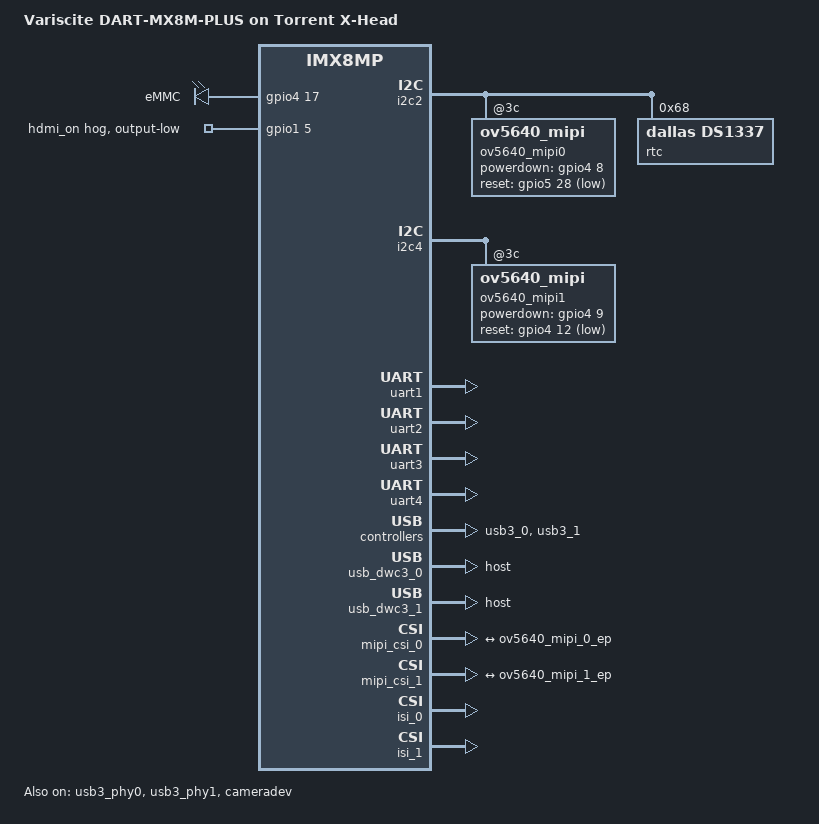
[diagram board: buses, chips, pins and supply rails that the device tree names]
// SPDX-License-Identifier: (GPL-2.0+ OR MIT)
/*
 * Copyright 2019 NXP
 * Copyright 2020-2021 Variscite Ltd.
 * Copyright 2023 Gold Standard Diagnostics
 */

#include "imx8mp-var-dart.dtsi"

/ {
	model = "Variscite DART-MX8M-PLUS on Torrent X-Head";

	chosen {
		stdout-path = &uart1;
	};

	gpio-leds {
		compatible = "gpio-leds";
		pinctrl-names = "default";
		pinctrl-0 = <&pinctrl_gpio_leds>;
		status = "okay";
		emmc {
			label = "eMMC";
			gpios = <&gpio4 17 GPIO_ACTIVE_HIGH>;
			linux,default-trigger = "mmc2";
		};
	};

};

&i2c2 {
	ov5640_mipi0: ov5640_mipi@3c {
		pinctrl-names = "default";
		pinctrl-0 = <&pinctrl_csi0>;
		powerdown-gpios = <&gpio4 8 GPIO_ACTIVE_HIGH>;
		reset-gpios = <&gpio5 28 GPIO_ACTIVE_LOW>;
		status = "okay";
	};

	/* DS1337 RTC module */
	rtc@68 {
		compatible = "dallas,ds1337";
		reg = <0x68>;
		status = "okay";
	};

};

&i2c4 {
	ov5640_mipi1: ov5640_mipi@3c {
		pinctrl-names = "default";
		pinctrl-0 = <&pinctrl_csi1>;
		powerdown-gpios = <&gpio4 9 GPIO_ACTIVE_HIGH>;
		reset-gpios = <&gpio4 12 GPIO_ACTIVE_LOW>;
		status = "okay";
	};

};

/* Console */
&uart1 {
	pinctrl-names = "default";
	pinctrl-0 = <&pinctrl_uart1>;
	status = "okay";
};

/* MCU on X-Head */
&uart2 {
	pinctrl-names = "default";
	pinctrl-0 = <&pinctrl_uart2>;
	status = "okay";
};

/* MCU on Multichannel Washer */
&uart3 {
	pinctrl-names = "default";
	pinctrl-0 = <&pinctrl_uart3>;
	status = "okay";
};

/* BLDC Motor Controller on X-Head */
&uart4 {
	pinctrl-names = "default";
	pinctrl-0 = <&pinctrl_uart4>;
	status = "okay";
};

/* LVDS */
&lcdif2 {
	status = "disabled";
};

&pcie {
	status = "disabled";
};

&usb3_phy0 {
	fsl,phy-tx-vref-tune = <0xe>;
	fsl,phy-tx-preemp-amp-tune = <3>;
	fsl,phy-tx-vboost-level = <5>;
	fsl,phy-comp-dis-tune = <7>;
	fsl,pcs-tx-deemph-3p5db = <0x21>;
	fsl,phy-pcs-tx-swing-full = <0x7f>;
	status = "okay";
};

&usb3_0 {
	status = "okay";
};

&usb_dwc3_0 {
	dr_mode = "host";
	hnp-disable;
	srp-disable;
	adp-disable;
	extcon = <&extcon_usb1>;
	status = "okay";
};

&usb3_phy1 {
	fsl,phy-tx-preemp-amp-tune = <3>;
	fsl,phy-tx-vref-tune = <0xb>;
	status = "okay";
};

&usb3_1 {
	status = "okay";
};

&usb_dwc3_1 {
	dr_mode = "host";
	status = "okay";
};

&usdhc2 {
	status = "disabled";
};

&ldb_phy {
	status = "disabled";
};

&mipi_dsi {
	status = "disabled";
};

&gpio1 {
	pinctrl-names = "default";
	pinctrl-0 = <&pinctrl_hdmi>;

	hdmi_on_hog {
		gpio-hog;
		gpios = <5 0>;
		output-low;
		line-name = "hdmi_on";
	};
};

&fec {
	status = "disabled";
};

&eqos {
	status = "disabled";
};

&wm8904 {
	status = "disabled";
};

&usdhc1 {
	status = "disabled";
};

&mipi_csi_0 {
	#address-cells = <1>;
	#size-cells = <0>;
	status = "okay";

	port@0 {
		reg = <0>;
		mipi_csi0_ep: endpoint {
			remote-endpoint = <&ov5640_mipi_0_ep>;
			data-lanes = <2>;
			csis-hs-settle = <13>;
			csis-clk-settle = <2>;
			csis-wclk;
		};
	};
};

&mipi_csi_1 {
	#address-cells = <1>;
	#size-cells = <0>;
	status = "okay";

	port@1 {
		reg = <1>;
		mipi_csi1_ep: endpoint {
			remote-endpoint = <&ov5640_mipi_1_ep>;
			data-lanes = <2>;
			csis-hs-settle = <13>;
			csis-clk-settle = <2>;
			csis-wclk;
		};
	};
};

&cameradev {
	status = "okay";
};

&isi_0 {
	status = "okay";

	cap_device {
		status = "okay";
	};

	m2m_device {
		status = "disabled";
	};
};

&isi_1 {
	status = "okay";

	cap_device {
		status = "okay";
	};

	m2m_device {
		status = "disabled";
	};
};


&iomuxc {
	pinctrl_flexcan1: flexcan1grp {
		fsl,pins = <
			MX8MP_IOMUXC_SAI5_RXD2__CAN1_RX					0x154
			MX8MP_IOMUXC_SAI5_RXD1__CAN1_TX					0x154
		>;
	};

	pinctrl_flexcan2: flexcan2grp {
		fsl,pins = <
			MX8MP_IOMUXC_SAI5_MCLK__CAN2_RX					0x154
			MX8MP_IOMUXC_SAI5_RXD3__CAN2_TX					0x154
		>;
	};

	pinctrl_extcon: extcongrp {
		fsl,pins = <
			MX8MP_IOMUXC_GPIO1_IO10__GPIO1_IO10				0x10
		>;
	};

	pinctrl_can: cangrp {
		fsl,pins = <
			MX8MP_IOMUXC_GPIO1_IO06__GPIO1_IO06				0x1c6
		>;
	};

	pinctrl_csi0: csi0grp {
		fsl,pins = <
			MX8MP_IOMUXC_SAI1_RXD6__GPIO4_IO08				0x10
			MX8MP_IOMUXC_UART4_RXD__GPIO5_IO28				0x10
		>;
	};

	pinctrl_pcie: pciegrp {
		fsl,pins = <
			MX8MP_IOMUXC_SAI1_RXD5__GPIO4_IO07				0x40
		>;
	};

	pinctrl_csi1: csi1grp {
		fsl,pins = <
			MX8MP_IOMUXC_SAI1_RXD7__GPIO4_IO09				0x10
			MX8MP_IOMUXC_SAI1_TXD0__GPIO4_IO12				0x10
		>;
	};

	pinctrl_hdmi: hdmigrp {
		fsl,pins = <
			MX8MP_IOMUXC_GPIO1_IO05__GPIO1_IO05				0xc0
		>;
	};

	pinctrl_gpio_leds: ledgrp {
		fsl,pins = <
			MX8MP_IOMUXC_SAI1_TXD5__GPIO4_IO17				0xc6
		>;
	};

	pinctrl_uart1: uart1grp {
		fsl,pins = <
			MX8MP_IOMUXC_UART1_RXD__UART1_DCE_RX				0x40
			MX8MP_IOMUXC_UART1_TXD__UART1_DCE_TX				0x40
		>;
	};

	pinctrl_uart2: uart2grp {
		fsl,pins = <
			MX8MP_IOMUXC_UART2_RXD__UART2_DCE_RX				0x40
			MX8MP_IOMUXC_UART2_TXD__UART2_DCE_TX				0x40
		>;
	};

	pinctrl_uart3: uart3grp {
		fsl,pins = <
			MX8MP_IOMUXC_UART3_RXD__UART3_DCE_RX				0x40
			MX8MP_IOMUXC_UART3_TXD__UART3_DCE_TX				0x40
		>;
	};

	pinctrl_uart4: uart4grp {
		fsl,pins = <
			MX8MP_IOMUXC_ECSPI2_SCLK__UART4_DCE_RX				0x40
			MX8MP_IOMUXC_ECSPI2_MOSI__UART4_DCE_TX				0x40
			MX8MP_IOMUXC_SD1_DATA7__GPIO2_IO09					0x106 /*pull-up disables BT_BUF */
		>;
	};
};
